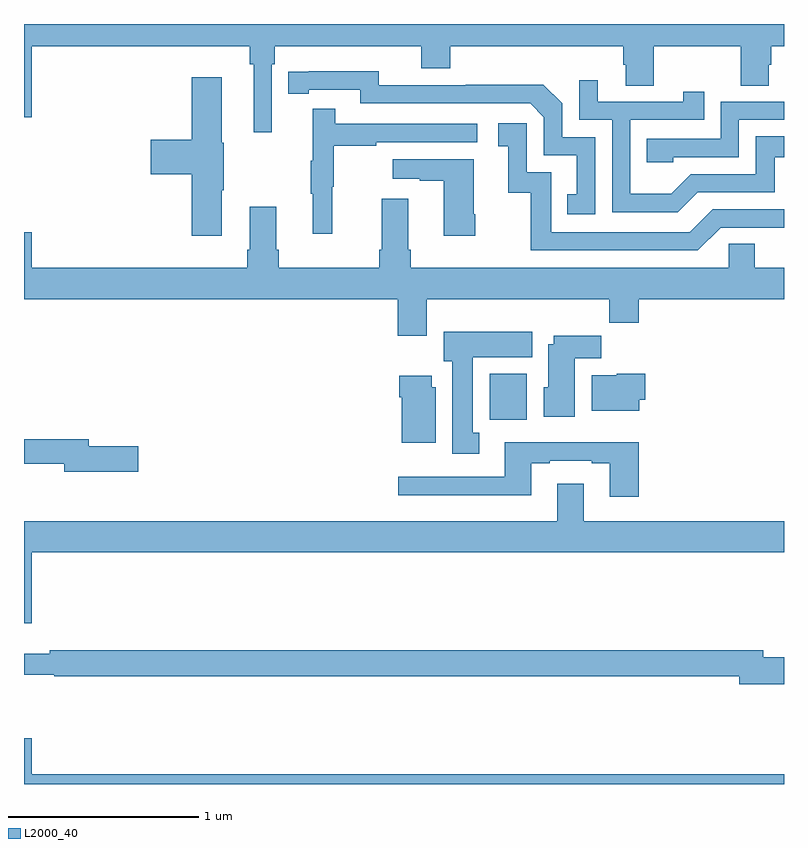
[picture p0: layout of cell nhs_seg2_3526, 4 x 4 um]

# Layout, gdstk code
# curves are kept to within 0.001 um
import gdstk
lib = gdstk.Library(unit=1e-6, precision=1e-09)
def R(c, l, rs):  # rectangles x0, y0, x1, y1
    for r in rs: c.add(gdstk.rectangle(r[:2], r[2:], *l))
def P(c, l, *ps):  # polygons
    for p in ps: c.add(gdstk.Polygon(p, *l))
L2000_40 = (2000, 40)

nhs_seg2_3526 = lib.new_cell('nhs_seg2_3526')
R(nhs_seg2_3526, L2000_40, [(299.45,597.716,299.647,597.958)])
P(nhs_seg2_3526, L2000_40, [(299.09,599.567),(299.243,599.567),(299.243,599.684),(300.155,599.684),(300.155,599.586),(300.167,599.586),(300.167,599.476),(300.315,599.476),(300.315,599.684),(300.772,599.684),(300.772,599.476),(300.919,599.476),(300.919,599.586),(300.932,599.586),(300.932,599.684),(301,599.684),(301,599.8),(297,599.8),(297,599.31),(297.04,599.31),(297.04,599.684),(298.189,599.684),(298.189,599.588),(298.208,599.588),(298.208,599.229),(298.305,599.229),(298.305,599.588),(298.319,599.588),(298.319,599.684),(299.09,599.684)],
  [(300.006,599.205),(299.832,599.205),(299.832,599.382),(299.734,599.48),(299.326,599.48),(299.326,599.478),(298.866,599.478),(298.866,599.551),(298.39,599.55),(298.39,599.434),(298.498,599.434),(298.498,599.454),(298.77,599.454),(298.77,599.382),(299.664,599.382),(299.736,599.31),(299.736,599.109),(299.909,599.109),(299.909,598.905),(299.86,598.905),(299.86,598.8),(300.006,598.8)],
  [(298.042,598.925),(298.05,598.925),(298.05,599.175),(298.042,599.175),(298.042,599.521),(297.884,599.521),(297.884,599.192),(297.666,599.192),(297.666,599.009),(297.884,599.009),(297.884,598.686),(298.042,598.686)],
  [(300.547,598.914),(300.951,598.914),(300.951,599.099),(301,599.099),(301,599.209),(300.852,599.209),(300.852,599.01),(300.51,599.01),(300.406,598.906),(300.192,598.906),(300.192,599.295),(300.581,599.295),(300.581,599.443),(300.47,599.443),(300.47,599.391),(300.019,599.391),(300.019,599.503),(299.922,599.503),(299.922,599.295),(300.096,599.295),(300.096,598.809),(300.442,598.809)],
  [(300.417,599.1),(300.762,599.1),(300.762,599.295),(301,599.295),(301,599.391),(300.666,599.391),(300.666,599.196),(300.277,599.196),(300.277,599.073),(300.417,599.073)],
  [(298.622,598.944),(298.63,598.944),(298.63,599.158),(298.853,599.158),(298.853,599.178),(299.386,599.178),(299.386,599.274),(298.637,599.274),(298.637,599.353),(298.52,599.353),(298.52,599.081),(298.509,599.081),(298.509,598.907),(298.52,598.907),(298.52,598.695),(298.622,598.695)],
  [(300.666,598.728),(301,598.728),(301,598.824),(300.624,598.824),(300.504,598.704),(299.775,598.704),(299.775,599.019),(299.646,599.019),(299.646,599.278),(299.496,599.278),(299.496,599.157),(299.549,599.157),(299.549,598.911),(299.667,598.911),(299.667,598.608),(300.546,598.608)],
  [(299.376,598.798),(299.368,598.798),(299.368,599.089),(298.941,599.089),(298.941,598.985),(299.084,598.985),(299.084,598.975),(299.21,598.975),(299.21,598.686),(299.376,598.686)],
  [(299.119,598.352),(300.079,598.352),(300.079,598.228),(300.236,598.228),(300.236,598.352),(301,598.352),(301,598.516),(300.847,598.516),(300.847,598.643),(300.708,598.643),(300.708,598.516),(299.036,598.516),(299.036,598.612),(299.023,598.612),(299.023,598.879),(298.883,598.879),(298.883,598.612),(298.871,598.612),(298.871,598.516),(298.34,598.516),(298.34,598.612),(298.327,598.612),(298.327,598.837),(298.187,598.837),(298.187,598.612),(298.175,598.612),(298.175,598.516),(297.04,598.516),(297.04,598.705),(297,598.705),(297,598.352),(298.967,598.352),(298.967,598.158),(299.119,598.158)],
  [(299.395,597.65),(299.362,597.65),(299.362,598.046),(299.674,598.046),(299.674,598.18),(299.21,598.18),(299.21,598.026),(299.255,598.026),(299.255,597.537),(299.395,597.537)],
  [(299.899,598.04),(300.038,598.04),(300.038,598.159),(299.789,598.159),(299.789,598.114),(299.759,598.114),(299.759,597.888),(299.735,597.888),(299.735,597.734),(299.899,597.734)],
  [(300.238,597.822),(300.269,597.822),(300.269,597.958),(300.12,597.958),(300.12,597.952),(299.987,597.952),(299.987,597.764),(300.238,597.764)],
  [(299.167,597.888),(299.146,597.888),(299.146,597.949),(298.976,597.949),(298.976,597.836),(298.988,597.836),(298.988,597.596),(299.167,597.596)],
  [(297.601,597.578),(297.34,597.578),(297.34,597.614),(297,597.614),(297,597.486),(297.212,597.486),(297.212,597.443),(297.601,597.443)],
  [(300.236,597.598),(299.531,597.598),(299.531,597.417),(298.971,597.417),(298.971,597.32),(299.671,597.32),(299.671,597.489),(299.767,597.489),(299.767,597.501),(299.987,597.501),(299.987,597.489),(300.083,597.489),(300.083,597.312),(300.236,597.312)],
  [(297.04,597.02),(301,597.02),(301,597.184),(299.947,597.184),(299.947,597.379),(299.807,597.379),(299.807,597.184),(297,597.184),(297,596.646),(297.04,596.646)],
  [(301,596.468),(300.892,596.468),(300.892,596.504),(297.136,596.504),(297.136,596.485),(297,596.485),(297,596.376),(297.158,596.376),(297.158,596.368),(300.764,596.368),(300.764,596.326),(301,596.326)],
  [(301,595.852),(297.04,595.852),(297.04,596.041),(297,596.041),(297,595.8),(301,595.8)])

lib.write_gds('nhs_seg2_3526.gds')
